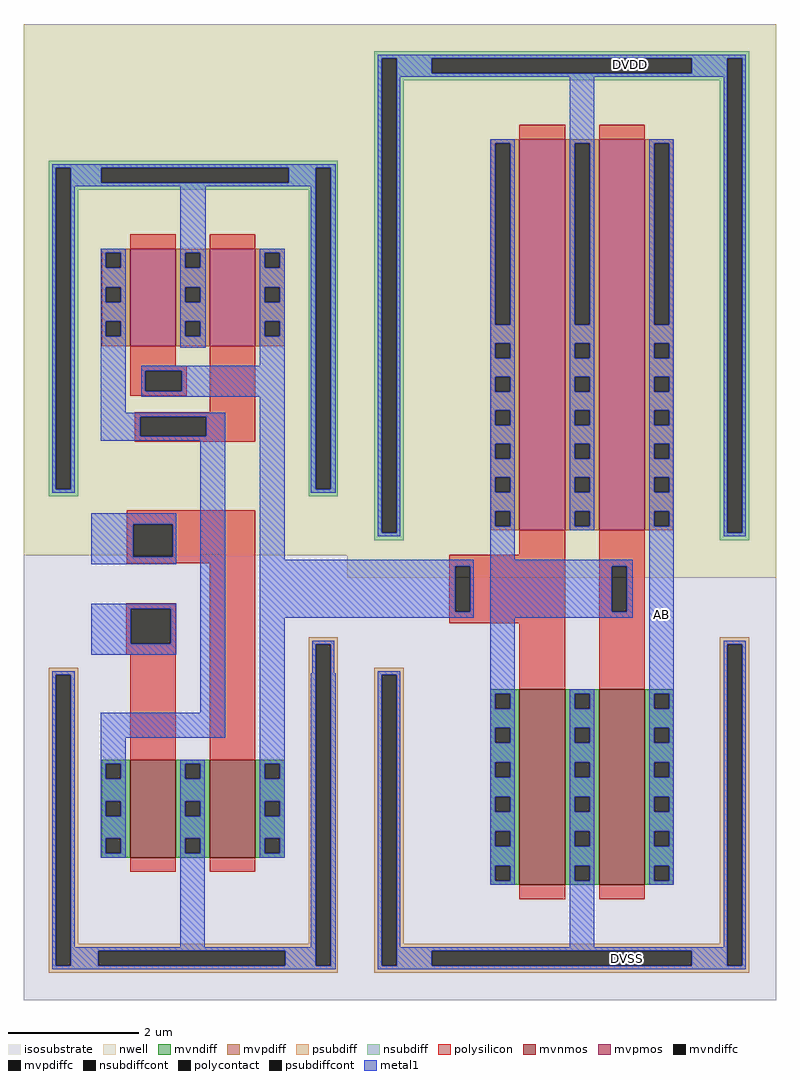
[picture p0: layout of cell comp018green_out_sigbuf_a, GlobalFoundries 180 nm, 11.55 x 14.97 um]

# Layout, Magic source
magic
tech gf180mcuD
magscale 1 10
<< isosubstrate >>
rect 392 -83 2701 2911
<< nwell >>
rect 392 2575 2701 2911
rect 1385 1213 2701 2575
<< mvnmos >>
rect 1913 270 2053 870
rect 2157 270 2297 870
<< mvpmos >>
rect 1913 1358 2053 2558
rect 2157 1358 2297 2558
<< mvndiff >>
rect 1825 857 1913 870
rect 1825 811 1838 857
rect 1884 811 1913 857
rect 1825 752 1913 811
rect 1825 706 1838 752
rect 1884 706 1913 752
rect 1825 647 1913 706
rect 1825 601 1838 647
rect 1884 601 1913 647
rect 1825 541 1913 601
rect 1825 495 1838 541
rect 1884 495 1913 541
rect 1825 435 1913 495
rect 1825 389 1838 435
rect 1884 389 1913 435
rect 1825 329 1913 389
rect 1825 283 1838 329
rect 1884 283 1913 329
rect 1825 270 1913 283
rect 2053 857 2157 870
rect 2053 811 2082 857
rect 2128 811 2157 857
rect 2053 752 2157 811
rect 2053 706 2082 752
rect 2128 706 2157 752
rect 2053 647 2157 706
rect 2053 601 2082 647
rect 2128 601 2157 647
rect 2053 541 2157 601
rect 2053 495 2082 541
rect 2128 495 2157 541
rect 2053 435 2157 495
rect 2053 389 2082 435
rect 2128 389 2157 435
rect 2053 329 2157 389
rect 2053 283 2082 329
rect 2128 283 2157 329
rect 2053 270 2157 283
rect 2297 857 2385 870
rect 2297 811 2326 857
rect 2372 811 2385 857
rect 2297 752 2385 811
rect 2297 706 2326 752
rect 2372 706 2385 752
rect 2297 647 2385 706
rect 2297 601 2326 647
rect 2372 601 2385 647
rect 2297 541 2385 601
rect 2297 495 2326 541
rect 2372 495 2385 541
rect 2297 435 2385 495
rect 2297 389 2326 435
rect 2372 389 2385 435
rect 2297 329 2385 389
rect 2297 283 2326 329
rect 2372 283 2385 329
rect 2297 270 2385 283
<< mvpdiff >>
rect 1825 2545 1913 2558
rect 1825 1989 1838 2545
rect 1884 1989 1913 2545
rect 1825 1932 1913 1989
rect 1825 1886 1838 1932
rect 1884 1886 1913 1932
rect 1825 1829 1913 1886
rect 1825 1783 1838 1829
rect 1884 1783 1913 1829
rect 1825 1726 1913 1783
rect 1825 1680 1838 1726
rect 1884 1680 1913 1726
rect 1825 1623 1913 1680
rect 1825 1577 1838 1623
rect 1884 1577 1913 1623
rect 1825 1520 1913 1577
rect 1825 1474 1838 1520
rect 1884 1474 1913 1520
rect 1825 1417 1913 1474
rect 1825 1371 1838 1417
rect 1884 1371 1913 1417
rect 1825 1358 1913 1371
rect 2053 2545 2157 2558
rect 2053 1989 2082 2545
rect 2128 1989 2157 2545
rect 2053 1932 2157 1989
rect 2053 1886 2082 1932
rect 2128 1886 2157 1932
rect 2053 1829 2157 1886
rect 2053 1783 2082 1829
rect 2128 1783 2157 1829
rect 2053 1726 2157 1783
rect 2053 1680 2082 1726
rect 2128 1680 2157 1726
rect 2053 1623 2157 1680
rect 2053 1577 2082 1623
rect 2128 1577 2157 1623
rect 2053 1520 2157 1577
rect 2053 1474 2082 1520
rect 2128 1474 2157 1520
rect 2053 1417 2157 1474
rect 2053 1371 2082 1417
rect 2128 1371 2157 1417
rect 2053 1358 2157 1371
rect 2297 2545 2385 2558
rect 2297 1989 2326 2545
rect 2372 1989 2385 2545
rect 2297 1932 2385 1989
rect 2297 1886 2326 1932
rect 2372 1886 2385 1932
rect 2297 1829 2385 1886
rect 2297 1783 2326 1829
rect 2372 1783 2385 1829
rect 2297 1726 2385 1783
rect 2297 1680 2326 1726
rect 2372 1680 2385 1726
rect 2297 1623 2385 1680
rect 2297 1577 2326 1623
rect 2372 1577 2385 1623
rect 2297 1520 2385 1577
rect 2297 1474 2326 1520
rect 2372 1474 2385 1520
rect 2297 1417 2385 1474
rect 2297 1371 2326 1417
rect 2372 1371 2385 1417
rect 2297 1358 2385 1371
<< mvndiffc >>
rect 1838 811 1884 857
rect 1838 706 1884 752
rect 1838 601 1884 647
rect 1838 495 1884 541
rect 1838 389 1884 435
rect 1838 283 1884 329
rect 2082 811 2128 857
rect 2082 706 2128 752
rect 2082 601 2128 647
rect 2082 495 2128 541
rect 2082 389 2128 435
rect 2082 283 2128 329
rect 2326 811 2372 857
rect 2326 706 2372 752
rect 2326 601 2372 647
rect 2326 495 2372 541
rect 2326 389 2372 435
rect 2326 283 2372 329
<< mvpdiffc >>
rect 1838 1989 1884 2545
rect 1838 1886 1884 1932
rect 1838 1783 1884 1829
rect 1838 1680 1884 1726
rect 1838 1577 1884 1623
rect 1838 1474 1884 1520
rect 1838 1371 1884 1417
rect 2082 1989 2128 2545
rect 2082 1886 2128 1932
rect 2082 1783 2128 1829
rect 2082 1680 2128 1726
rect 2082 1577 2128 1623
rect 2082 1474 2128 1520
rect 2082 1371 2128 1417
rect 2326 1989 2372 2545
rect 2326 1886 2372 1932
rect 2326 1783 2372 1829
rect 2326 1680 2372 1726
rect 2326 1577 2372 1623
rect 2326 1474 2372 1520
rect 2326 1371 2372 1417
<< psubdiff >>
rect 1468 914 1558 936
rect 1468 22 1490 914
rect 1536 90 1558 914
rect 2528 1008 2618 1030
rect 2528 90 2550 1008
rect 1536 68 2550 90
rect 1536 22 1644 68
rect 2442 22 2550 68
rect 2596 22 2618 1008
rect 1468 0 2618 22
<< nsubdiff >>
rect 1468 2806 2618 2828
rect 1468 1350 1490 2806
rect 1536 2760 1644 2806
rect 2442 2760 2550 2806
rect 1536 2738 2550 2760
rect 1536 1350 1558 2738
rect 1468 1328 1558 1350
rect 2528 1350 2550 2738
rect 2596 1350 2618 2806
rect 2528 1328 2618 1350
<< psubdiffcont >>
rect 1490 22 1536 914
rect 1644 22 2442 68
rect 2550 22 2596 1008
<< nsubdiffcont >>
rect 1490 1350 1536 2806
rect 1644 2760 2442 2806
rect 2550 1350 2596 2806
<< polysilicon >>
rect 1913 2558 2053 2602
rect 2157 2558 2297 2602
rect 1913 1283 2053 1358
rect 1697 1248 2053 1283
rect 1697 1108 1716 1248
rect 1762 1108 2053 1248
rect 1697 1072 2053 1108
rect 1913 870 2053 1072
rect 2157 1248 2297 1358
rect 2157 1108 2196 1248
rect 2242 1108 2297 1248
rect 2157 870 2297 1108
rect 1913 226 2053 270
rect 2157 226 2297 270
<< polycontact >>
rect 1716 1108 1762 1248
rect 2196 1108 2242 1248
<< metal1 >>
rect 1479 2806 2607 2817
rect 1479 1350 1490 2806
rect 1536 2760 1644 2806
rect 2442 2760 2550 2806
rect 1536 2749 2550 2760
rect 1536 1350 1547 2749
rect 1479 1339 1547 1350
rect 1823 2545 1899 2558
rect 1823 1989 1838 2545
rect 1884 1989 1899 2545
rect 1823 1932 1899 1989
rect 1823 1886 1838 1932
rect 1884 1886 1899 1932
rect 1823 1829 1899 1886
rect 1823 1783 1838 1829
rect 1884 1783 1899 1829
rect 1823 1726 1899 1783
rect 1823 1680 1838 1726
rect 1884 1680 1899 1726
rect 1823 1623 1899 1680
rect 1823 1577 1838 1623
rect 1884 1577 1899 1623
rect 1823 1520 1899 1577
rect 1823 1474 1838 1520
rect 1884 1474 1899 1520
rect 1823 1417 1899 1474
rect 1823 1371 1838 1417
rect 1884 1371 1899 1417
rect 1823 1267 1899 1371
rect 2067 2545 2143 2749
rect 2067 1989 2082 2545
rect 2128 1989 2143 2545
rect 2067 1932 2143 1989
rect 2067 1886 2082 1932
rect 2128 1886 2143 1932
rect 2067 1829 2143 1886
rect 2067 1783 2082 1829
rect 2128 1783 2143 1829
rect 2067 1726 2143 1783
rect 2067 1680 2082 1726
rect 2128 1680 2143 1726
rect 2067 1623 2143 1680
rect 2067 1577 2082 1623
rect 2128 1577 2143 1623
rect 2067 1520 2143 1577
rect 2067 1474 2082 1520
rect 2128 1474 2143 1520
rect 2067 1417 2143 1474
rect 2067 1371 2082 1417
rect 2128 1371 2143 1417
rect 2067 1358 2143 1371
rect 2311 2545 2387 2558
rect 2311 1989 2326 2545
rect 2372 1989 2387 2545
rect 2311 1932 2387 1989
rect 2311 1886 2326 1932
rect 2372 1886 2387 1932
rect 2311 1829 2387 1886
rect 2311 1783 2326 1829
rect 2372 1783 2387 1829
rect 2311 1726 2387 1783
rect 2311 1680 2326 1726
rect 2372 1680 2387 1726
rect 2311 1623 2387 1680
rect 2311 1577 2326 1623
rect 2372 1577 2387 1623
rect 2311 1520 2387 1577
rect 2311 1474 2326 1520
rect 2372 1474 2387 1520
rect 2311 1417 2387 1474
rect 2311 1371 2326 1417
rect 2372 1371 2387 1417
rect 1140 1248 1773 1267
rect 1140 1108 1716 1248
rect 1762 1108 1773 1248
rect 1140 1089 1773 1108
rect 1823 1248 2261 1267
rect 1823 1108 2196 1248
rect 2242 1108 2261 1248
rect 1823 1089 2261 1108
rect 1479 914 1547 925
rect 1479 22 1490 914
rect 1536 79 1547 914
rect 1823 857 1899 1089
rect 1823 811 1838 857
rect 1884 811 1899 857
rect 1823 752 1899 811
rect 1823 706 1838 752
rect 1884 706 1899 752
rect 1823 647 1899 706
rect 1823 601 1838 647
rect 1884 601 1899 647
rect 1823 541 1899 601
rect 1823 495 1838 541
rect 1884 495 1899 541
rect 1823 435 1899 495
rect 1823 389 1838 435
rect 1884 389 1899 435
rect 1823 329 1899 389
rect 1823 283 1838 329
rect 1884 283 1899 329
rect 1823 270 1899 283
rect 2067 857 2143 870
rect 2067 811 2082 857
rect 2128 811 2143 857
rect 2067 752 2143 811
rect 2067 706 2082 752
rect 2128 706 2143 752
rect 2067 647 2143 706
rect 2067 601 2082 647
rect 2128 601 2143 647
rect 2067 541 2143 601
rect 2067 495 2082 541
rect 2128 495 2143 541
rect 2067 435 2143 495
rect 2067 389 2082 435
rect 2128 389 2143 435
rect 2067 329 2143 389
rect 2067 283 2082 329
rect 2128 283 2143 329
rect 2067 79 2143 283
rect 2311 857 2387 1371
rect 2539 1350 2550 2749
rect 2596 1350 2607 2806
rect 2539 1339 2607 1350
rect 2311 811 2326 857
rect 2372 811 2387 857
rect 2311 752 2387 811
rect 2311 706 2326 752
rect 2372 706 2387 752
rect 2311 647 2387 706
rect 2311 601 2326 647
rect 2372 601 2387 647
rect 2311 541 2387 601
rect 2311 495 2326 541
rect 2372 495 2387 541
rect 2311 435 2387 495
rect 2311 389 2326 435
rect 2372 389 2387 435
rect 2311 329 2387 389
rect 2311 283 2326 329
rect 2372 283 2387 329
rect 2311 270 2387 283
rect 2539 1008 2607 1019
rect 2539 79 2550 1008
rect 1536 68 2550 79
rect 1536 22 1644 68
rect 2442 22 2550 68
rect 2596 22 2607 1008
rect 1479 11 2607 22
use lvlshift_up  lvlshift_up_0
transform 1 0 -17795 0 1 -53410
box 18187 53410 19183 55985
<< labels >>
rlabel metal1 s 2349 1100 2349 1100 4 AB
port 2 nsew
rlabel metal1 s 2245 45 2245 45 4 DVSS
port 4 nsew
rlabel metal1 s 2254 2788 2254 2788 4 DVDD
port 5 nsew
<< end >>

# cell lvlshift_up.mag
magic
tech gf180mcuD
magscale 1 10
<< nwell >>
rect 18187 54691 19183 55985
<< mvnmos >>
rect 18514 53764 18654 54064
rect 18758 53764 18898 54064
<< mvpmos >>
rect 18514 55332 18654 55632
rect 18758 55332 18898 55632
<< mvndiff >>
rect 18426 54051 18514 54064
rect 18426 54005 18439 54051
rect 18485 54005 18514 54051
rect 18426 53937 18514 54005
rect 18426 53891 18439 53937
rect 18485 53891 18514 53937
rect 18426 53823 18514 53891
rect 18426 53777 18439 53823
rect 18485 53777 18514 53823
rect 18426 53764 18514 53777
rect 18654 54051 18758 54064
rect 18654 54005 18683 54051
rect 18729 54005 18758 54051
rect 18654 53937 18758 54005
rect 18654 53891 18683 53937
rect 18729 53891 18758 53937
rect 18654 53823 18758 53891
rect 18654 53777 18683 53823
rect 18729 53777 18758 53823
rect 18654 53764 18758 53777
rect 18898 54051 18988 54064
rect 18898 54005 18927 54051
rect 18973 54005 18988 54051
rect 18898 53937 18988 54005
rect 18898 53891 18927 53937
rect 18973 53891 18988 53937
rect 18898 53823 18988 53891
rect 18898 53777 18927 53823
rect 18973 53777 18988 53823
rect 18898 53764 18988 53777
<< mvpdiff >>
rect 18426 55619 18514 55632
rect 18426 55573 18439 55619
rect 18485 55573 18514 55619
rect 18426 55514 18514 55573
rect 18426 55468 18439 55514
rect 18485 55468 18514 55514
rect 18426 55409 18514 55468
rect 18426 55363 18439 55409
rect 18485 55363 18514 55409
rect 18426 55332 18514 55363
rect 18654 55619 18758 55632
rect 18654 55573 18683 55619
rect 18729 55573 18758 55619
rect 18654 55514 18758 55573
rect 18654 55468 18683 55514
rect 18729 55468 18758 55514
rect 18654 55409 18758 55468
rect 18654 55363 18683 55409
rect 18729 55363 18758 55409
rect 18654 55332 18758 55363
rect 18898 55619 18988 55632
rect 18898 55573 18927 55619
rect 18973 55573 18988 55619
rect 18898 55514 18988 55573
rect 18898 55468 18927 55514
rect 18973 55468 18988 55514
rect 18898 55409 18988 55468
rect 18898 55363 18927 55409
rect 18973 55363 18988 55409
rect 18898 55332 18988 55363
<< mvndiffc >>
rect 18439 54005 18485 54051
rect 18439 53891 18485 53937
rect 18439 53777 18485 53823
rect 18683 54005 18729 54051
rect 18683 53891 18729 53937
rect 18683 53777 18729 53823
rect 18927 54005 18973 54051
rect 18927 53891 18973 53937
rect 18927 53777 18973 53823
<< mvpdiffc >>
rect 18439 55573 18485 55619
rect 18439 55468 18485 55514
rect 18439 55363 18485 55409
rect 18683 55573 18729 55619
rect 18683 55468 18729 55514
rect 18683 55363 18729 55409
rect 18927 55573 18973 55619
rect 18927 55468 18973 55514
rect 18927 55363 18973 55409
<< psubdiff >>
rect 18264 54324 18354 54346
rect 18264 53432 18286 54324
rect 18332 53500 18354 54324
rect 19061 54418 19151 54440
rect 19061 53500 19083 54418
rect 18332 53478 19083 53500
rect 18332 53432 18416 53478
rect 18989 53432 19083 53478
rect 19129 53432 19151 54418
rect 18264 53410 19151 53432
<< nsubdiff >>
rect 18264 55880 19151 55902
rect 18264 54894 18286 55880
rect 18332 55834 18425 55880
rect 19000 55834 19083 55880
rect 18332 55812 19083 55834
rect 18332 54894 18354 55812
rect 18264 54872 18354 54894
rect 19061 54894 19083 55812
rect 19129 54894 19151 55880
rect 19061 54872 19151 54894
<< psubdiffcont >>
rect 18286 53432 18332 54324
rect 18416 53432 18989 53478
rect 19083 53432 19129 54418
<< nsubdiffcont >>
rect 18286 54894 18332 55880
rect 18425 55834 19000 55880
rect 19083 54894 19129 55880
<< polysilicon >>
rect 18514 55632 18654 55676
rect 18758 55632 18898 55676
rect 18514 55272 18654 55332
rect 18514 55257 18688 55272
rect 18514 55195 18560 55257
rect 18672 55195 18688 55257
rect 18514 55181 18688 55195
rect 18758 55130 18898 55332
rect 18528 55116 18898 55130
rect 18528 55056 18544 55116
rect 18747 55056 18898 55116
rect 18528 55040 18898 55056
rect 18504 54786 18898 54830
rect 18504 54687 18523 54786
rect 18644 54687 18898 54786
rect 18504 54667 18898 54687
rect 18502 54527 18654 54544
rect 18502 54420 18515 54527
rect 18639 54420 18654 54527
rect 18502 54386 18654 54420
rect 18514 54064 18654 54386
rect 18758 54064 18898 54667
rect 18514 53720 18654 53764
rect 18758 53720 18898 53764
<< polycontact >>
rect 18560 55195 18672 55257
rect 18544 55056 18747 55116
rect 18523 54687 18644 54786
rect 18515 54420 18639 54527
<< metal1 >>
rect 18275 55880 19144 55891
rect 18275 54894 18286 55880
rect 18332 55834 18425 55880
rect 19000 55834 19083 55880
rect 18332 55823 19083 55834
rect 18332 54894 18343 55823
rect 18424 55619 18500 55632
rect 18424 55573 18439 55619
rect 18485 55573 18500 55619
rect 18424 55514 18500 55573
rect 18424 55468 18439 55514
rect 18485 55468 18500 55514
rect 18424 55409 18500 55468
rect 18424 55363 18439 55409
rect 18485 55363 18500 55409
rect 18424 55129 18500 55363
rect 18668 55619 18745 55823
rect 18668 55573 18683 55619
rect 18729 55573 18745 55619
rect 18668 55514 18745 55573
rect 18668 55468 18683 55514
rect 18729 55468 18745 55514
rect 18668 55409 18745 55468
rect 18668 55363 18683 55409
rect 18729 55363 18745 55409
rect 18668 55328 18745 55363
rect 18912 55619 18988 55632
rect 18912 55573 18927 55619
rect 18973 55573 18988 55619
rect 18912 55514 18988 55573
rect 18912 55468 18927 55514
rect 18973 55468 18988 55514
rect 18912 55409 18988 55468
rect 18912 55363 18927 55409
rect 18973 55363 18988 55409
rect 18912 55272 18988 55363
rect 18547 55257 18988 55272
rect 18547 55195 18560 55257
rect 18672 55195 18988 55257
rect 18547 55178 18988 55195
rect 18424 55116 18805 55129
rect 18424 55056 18544 55116
rect 18747 55056 18805 55116
rect 18424 55043 18805 55056
rect 18275 54883 18343 54894
rect 18394 54786 18655 54820
rect 18394 54687 18523 54786
rect 18644 54687 18655 54786
rect 18394 54663 18655 54687
rect 18394 54527 18655 54543
rect 18394 54420 18515 54527
rect 18639 54420 18655 54527
rect 18394 54386 18655 54420
rect 18275 54324 18343 54335
rect 18275 53432 18286 54324
rect 18332 53489 18343 54324
rect 18729 54208 18805 55043
rect 18424 54132 18805 54208
rect 18424 54051 18500 54132
rect 18424 54005 18439 54051
rect 18485 54005 18500 54051
rect 18424 53937 18500 54005
rect 18424 53891 18439 53937
rect 18485 53891 18500 53937
rect 18424 53823 18500 53891
rect 18424 53777 18439 53823
rect 18485 53777 18500 53823
rect 18424 53764 18500 53777
rect 18668 54051 18743 54064
rect 18668 54005 18683 54051
rect 18729 54005 18743 54051
rect 18668 53937 18743 54005
rect 18668 53891 18683 53937
rect 18729 53891 18743 53937
rect 18668 53823 18743 53891
rect 18668 53777 18683 53823
rect 18729 53777 18743 53823
rect 18668 53489 18743 53777
rect 18912 54051 18988 55178
rect 19068 54894 19083 55823
rect 19129 54894 19144 55880
rect 19068 54883 19144 54894
rect 19072 54418 19140 54429
rect 19072 54329 19083 54418
rect 18912 54005 18927 54051
rect 18973 54005 18988 54051
rect 18912 53937 18988 54005
rect 18912 53891 18927 53937
rect 18973 53891 18988 53937
rect 18912 53823 18988 53891
rect 18912 53777 18927 53823
rect 18973 53777 18988 53823
rect 18912 53764 18988 53777
rect 19068 53489 19083 54329
rect 18332 53478 19083 53489
rect 18332 53432 18416 53478
rect 18989 53432 19083 53478
rect 19129 54329 19140 54418
rect 19129 53432 19144 54329
rect 18275 53421 19144 53432
<< end >>
